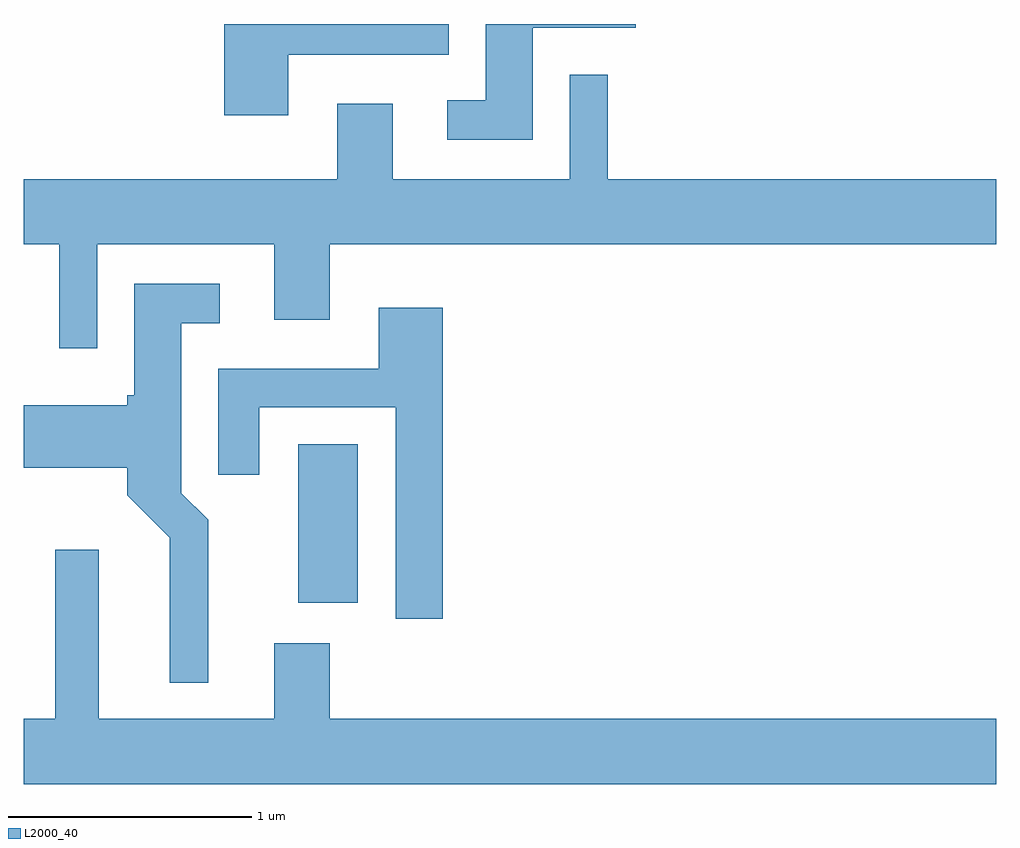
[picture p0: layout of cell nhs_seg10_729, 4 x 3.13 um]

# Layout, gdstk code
import gdstk
lib = gdstk.Library(unit=1e-6, precision=1e-09)
def R(c, l, rs):  # rectangles x0, y0, x1, y1
    for r in rs: c.add(gdstk.rectangle(r[:2], r[2:], *l))
def P(c, l, *ps):  # polygons
    for p in ps: c.add(gdstk.Polygon(p, *l))
L2000_40 = (2000, 40)

nhs_seg10_729 = lib.new_cell('nhs_seg10_729')
R(nhs_seg10_729, L2000_40, [(206.741,2190.141,206.984,2190.794)])
P(nhs_seg10_729, L2000_40, [(206.699,2192.396),(207.359,2192.396),(207.359,2192.522),(206.436,2192.522),(206.436,2192.146),(206.699,2192.146)],
  [(207.704,2192.506),(208.129,2192.506),(208.129,2192.522),(207.511,2192.522),(207.511,2192.209),(207.353,2192.209),(207.353,2192.046),(207.704,2192.046)],
  [(205.914,2191.616),(206.641,2191.616),(206.641,2191.306),(206.869,2191.306),(206.869,2191.616),(209.611,2191.616),(209.611,2191.884),(208.014,2191.884),(208.014,2192.313),(207.856,2192.313),(207.856,2191.884),(207.129,2191.884),(207.129,2192.194),(206.901,2192.194),(206.901,2191.884),(205.611,2191.884),(205.611,2191.616),(205.756,2191.616),(205.756,2191.188),(205.914,2191.188)],
  [(206.369,2190.482),(206.259,2190.592),(206.259,2191.291),(206.418,2191.291),(206.418,2191.454),(206.066,2191.454),(206.066,2190.994),(206.036,2190.994),(206.036,2190.954),(205.611,2190.954),(205.611,2190.696),(206.036,2190.696),(206.036,2190.584),(206.211,2190.409),(206.211,2189.813),(206.369,2189.813)],
  [(207.334,2191.354),(207.071,2191.354),(207.071,2191.104),(206.411,2191.104),(206.411,2190.668),(206.579,2190.668),(206.579,2190.946),(207.141,2190.946),(207.141,2190.076),(207.334,2190.076)],
  [(209.611,2189.664),(206.869,2189.664),(206.869,2189.974),(206.641,2189.974),(206.641,2189.664),(205.919,2189.664),(205.919,2190.359),(205.741,2190.359),(205.741,2189.664),(205.611,2189.664),(205.611,2189.396),(209.611,2189.396)])

lib.write_gds('nhs_seg10_729.gds')
